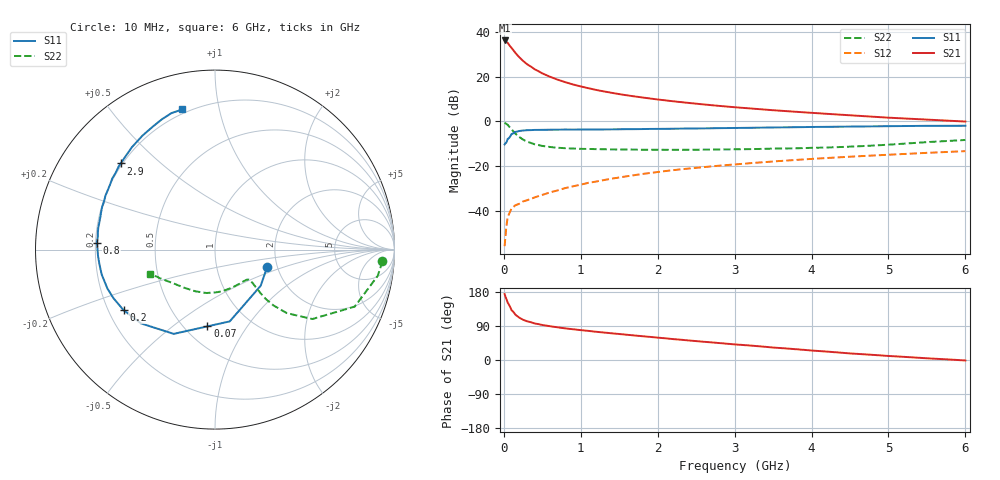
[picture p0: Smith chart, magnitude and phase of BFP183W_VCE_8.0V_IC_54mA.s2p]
! Infineon Technologies  Discrete & RF Semiconductors
! BFP183W
! VCE =  8.0 V,  IC =  54 mA
! Common Emitter S-Parameters:  Jan 2017
# GHz  S  MA  R  50
!  f  S11  S21  S12  S22
! GHz  MAG  ANG  MAG  ANG  MAG  ANG  MAG  ANG
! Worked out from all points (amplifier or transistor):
!   77 points, 10 MHz to 6 GHz, reference 50 ohm
!   highest |S21| = 36.3 dB at 10 MHz (marker M1)
!   |S21| within 3 dB of that: start of sweep to 91.53 MHz
!   unconditionally stable (mu >= 1): 625.7 MHz to 3.399 GHz
!   at 130 MHz: K = 0.41, MSG = 34.9 dB, |S12| = -38.2 dB
!   at 2.2 GHz: K = 1.08, MAG = 13.7 dB, |S12| = -21.8 dB
!   at 6 GHz: K = 0.85, MSG = 6.6 dB, |S12| = -13.3 dB
!   S11 on the Smith chart (normalised r, x): 10 MHz: 1.77, -0.37; 70 MHz: 0.64, -0.67; 200 MHz: 0.26, -0.28; 800 MHz: 0.21, +0.03; 2.9 GHz: 0.19, +0.38; 6 GHz: 0.18, +0.78
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0.01  0.3064 -18.1  65.53 174.0  0.0016 80.9  0.9349 -4.0
0.02  0.3247 -38.4  64.15 167.6  0.0025 85.2  0.9186 -9.1
0.05  0.4083 -78.4  57.76 151.4  0.007 65.5  0.8407 -22.2
0.07  0.4299 -95.7  51.8 144.7  0.0086 61.4  0.7662 -26.8
0.1  0.5229 -116.1  44.61 131.6  0.0111 57.6  0.6663 -35.5
0.15  0.5824 -135.1  34.52 119.7  0.0132 50.3  0.5336 -41.5
0.2  0.6111 -146.5  27.57 111.8  0.0143 50.5  0.4495 -43.7
0.25  0.6271 -154.4  22.8 106.2  0.0161 50.5  0.3926 -44.2
0.3  0.6373 -160.0  19.34 102.3  0.0171 51.6  0.3535 -43.8
0.4  0.6464 -167.6  14.85 96.5  0.0198 55.5  0.3079 -42.6
0.5  0.6491 -172.9  11.98 92.4  0.0226 56.8  0.2832 -41.7
0.6  0.6528 -176.9  10.06 89.1  0.0257 59.8  0.2678 -41.4
0.7  0.6548 179.7  8.643 86.2  0.0285 62.6  0.2574 -41.2
0.8  0.6589 176.6  7.597 83.4  0.0322 64.7  0.2516 -41.7
1.1  0.6617 169.3  5.562 76.8  0.0422 66.6  0.2419 -44.7
1.5  0.6688 161.3  4.105 68.6  0.0555 67.1  0.2355 -51.1
2.1  0.6842 150.2  2.973 57.2  0.0772 66.2  0.2316 -64.2
2.9  0.7115 137.6  2.159 43.0  0.1054 62.1  0.2367 -85.4
3.1  0.7177 134.7  2.023 39.7  0.1123 60.9  0.2388 -90.7
4.1  0.7551 121.3  1.523 23.6  0.1481 54.7  0.2584 -117.6
5.1  0.7871 111.1  1.193 9.5  0.1831 47.8  0.3095 -144.3
6  0.8017 103.1  0.995 -1.3  0.2162 41.3  0.3849 -159.7
